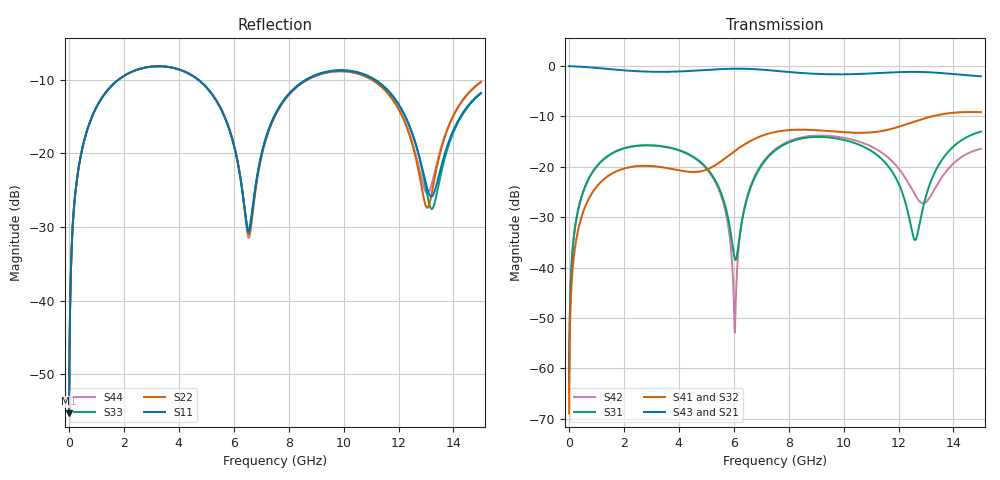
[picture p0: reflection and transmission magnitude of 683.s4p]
! Created with skrf 1.8.0 (http://scikit-rf.org).
# GHz S RI R 50.0
!freq ReS11 ImS11 ReS12 ImS12 ReS13 ImS13
! ReS14 ImS14
! ReS21 ImS21 ReS22 ImS22 ReS23 ImS23
! ReS24 ImS24
! ReS31 ImS31 ReS32 ImS32 ReS33 ImS33
! ReS34 ImS34
! ReS41 ImS41 ReS42 ImS42 ReS43 ImS43
! ReS44 ImS44
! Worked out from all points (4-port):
!   2499 points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, 5 MHz to 15 GHz, reference 50 ohm
!   strongest paths, dB at 5 MHz, 3.476 GHz, 7.19 GHz, 11.1 GHz, 15 GHz:
!     S43: 0.0, -1.1, -0.8, -1.4, -2.0
!     S21: 0.0, -1.1, -0.8, -1.4, -2.0
!     S41: -68.9, -20.2, -13.5, -13.1, -9.1
!     S32: -68.9, -20.2, -13.5, -13.2, -9.2
!     S31: -64.9, -16.0, -18.4, -17.2, -13.0
!     S42: -64.9, -16.0, -18.2, -16.2, -16.4
!   lowest |S11| = -55.3 dB at 5 MHz (marker M1), VSWR 1.00, Z = 50.1 + j0.104 ohm
!   |S11| at or under -10 dB: start of sweep to 1.801 GHz; 4.706 GHz to 8.644 GHz (3.938 GHz wide, 59 % of centre); 11.13 GHz to end of sweep
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0.005  0.00137 0.00104  0.9986 -0.00267  6.89e-05 0.000566  -6.68e-05 -0.000351
       0.9986 -0.00267  0.00137 0.00104  -6.68e-05 -0.000351  6.89e-05 0.000566
       6.89e-05 0.000566  -6.68e-05 -0.000351  0.00137 0.00104  0.9986 -0.00267
       -6.68e-05 -0.000351  6.89e-05 0.000566  0.9986 -0.00267  0.00137 0.00104
0.3626511  0.0222 0.0792  0.9694 -0.1926  0.0108 0.0391  -0.00886 -0.024
           0.9694 -0.1926  0.0223 0.0792  -0.00885 -0.024  0.0107 0.0391
           0.0108 0.0391  -0.00885 -0.024  0.0222 0.0793  0.9694 -0.1926
           -0.00886 -0.024  0.0107 0.0391  0.9694 -0.1926  0.0223 0.0793
1.67  0.2368 0.1873  0.6162 -0.6873  0.1209 0.0722  -0.0871 -0.0171
      0.6162 -0.6873  0.2373 0.1869  -0.087 -0.0172  0.1196 0.0737
      0.1209 0.0722  -0.087 -0.0172  0.2368 0.1872  0.6162 -0.6873
      -0.0871 -0.0171  0.1196 0.0737  0.6162 -0.6873  0.2372 0.187
6.040017  0.0512 -0.0939  -0.8914 -0.3053  -0.0115 -0.00381  -0.0411 0.1376
          -0.8914 -0.3053  0.0497 -0.0961  -0.0432 0.1369  -0.00226 -0.00012
          -0.0115 -0.00381  -0.0432 0.1369  0.0518 -0.0934  -0.8914 -0.3053
          -0.0411 0.1376  -0.00226 -0.00012  -0.8914 -0.3053  0.0488 -0.096
6.577741  0.0297 0.00582  -0.936 -0.0492  0.00165 0.0584  -0.00271 0.1786
          -0.936 -0.0492  0.0284 0.00384  -0.00525 0.1785  0.0117 0.0595
          0.00165 0.0584  -0.00525 0.1785  0.031 0.00633  -0.936 -0.0492
          -0.00271 0.1786  0.0117 0.0595  -0.936 -0.0492  0.027 0.00402
10.64193  0.3339 -0.0987  0.1704 0.8201  0.1331 -0.0932  0.1886 -0.1085
          0.1704 0.8201  0.3265 -0.1031  0.1891 -0.101  0.1251 -0.1226
          0.1331 -0.0932  0.1891 -0.101  0.334 -0.1061  0.1698 0.82
          0.1886 -0.1085  0.1251 -0.1226  0.1698 0.82  0.3276 -0.0953
15  0.2192 0.1353  0.5935 -0.5221  0.2235 -0.01  -0.2752 -0.2147
    0.5935 -0.5221  0.2648 0.1535  -0.2663 -0.2243  0.1419 0.0514
    0.2235 -0.01  -0.2663 -0.2243  0.2142 0.1382  0.5953 -0.5214
    -0.2752 -0.2147  0.1419 0.0514  0.5953 -0.5214  0.2658 0.1456
